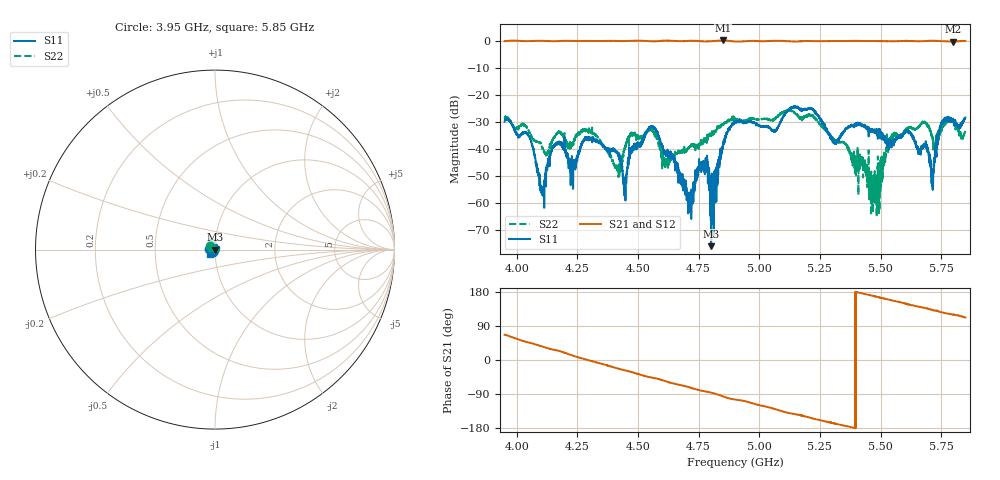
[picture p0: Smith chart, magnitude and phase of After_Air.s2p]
# GHZ S RI R 50.000000000000
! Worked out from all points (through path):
!   4501 points, 3.95 GHz to 5.85 GHz, reference 50 ohm
!   highest |S21| = 0.06 dB at 4.851 GHz (marker M1); lowest = -0.4 dB at 5.8 GHz (marker M2)
!   group delay of S21, straight-line fit = 454 ps
!   lowest |S11| = -76.1 dB at 4.802 GHz (marker M3), VSWR 1.00, Z = 50 + j0.0153 ohm
!   |S11| at or under -10 dB: start of sweep to end of sweep
!   |S22| runs from -65.3 to -25.8 dB; largest |S21 - S12| = 0.056
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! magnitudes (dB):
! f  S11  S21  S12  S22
! 3.95 GHz  -30.1  -0.2  -0.2  -29.0
! 4.05 GHz  -35.5  -0.2  -0.2  -33.8
! 4.105 GHz  -56.3  -0.1  -0.1  -39.5
! 4.155 GHz  -38.9  -0.2  -0.2  -35.5
! 4.267 GHz  -38.3  -0.1  -0.1  -33.2
! 4.409 GHz  -41.0  -0.1  -0.2  -46.5
! 4.446 GHz  -56.7  -0.2  -0.2  -39.9
! 4.584 GHz  -35.0  -0.2  -0.2  -37.8
! 4.711 GHz  -59.1  -0.1  -0.1  -39.4
! 4.761 GHz  -48.7  -0.2  -0.3  -36.7
! 4.802 GHz  -76.1  -0.2  -0.3  -34.5
! 4.851 GHz  -39.9  0.1  0.0  -30.6
! 4.9 GHz  -30.4  -0.3  -0.3  -29.2
! 5.217 GHz  -25.2  -0.2  -0.2  -27.7
! 5.309 GHz  -37.3  -0.1  -0.2  -36.9
! 5.462 GHz  -33.3  -0.2  -0.1  -48.5
! 5.534 GHz  -38.0  -0.2  -0.2  -37.0
! 5.615 GHz  -33.5  -0.1  -0.2  -32.3
! 5.714 GHz  -51.2  -0.1  -0.1  -36.0
! 5.748 GHz  -31.5  -0.2  -0.2  -33.6
! 5.8 GHz  -29.9  -0.4  -0.4  -30.0
! 5.85 GHz  -28.5  -0.1  -0.1  -34.0
